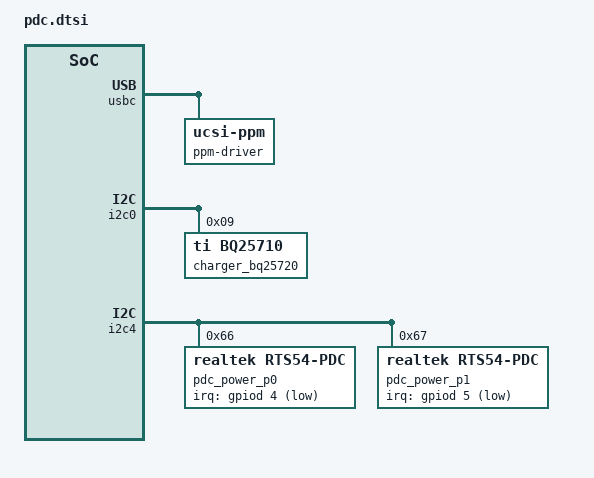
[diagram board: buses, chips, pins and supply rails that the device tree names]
/* Copyright 2025 The ChromiumOS Authors
 * Use of this source code is governed by a BSD-style license that can be
 * found in the LICENSE file.
 */

#include <usbc-policy.dtsi>

/ {
	usbc {
		#address-cells = <1>;
		#size-cells = <0>;

		usbc_port0: port0@0 {
			compatible = "named-usbc-port";
			reg = <0>;
			chg = <&charger_bq25720>;
			pdc = <&pdc_power_p0>;
			policy = <&cros_policy>;
		};

		usbc_port1: port1@1 {
			compatible = "named-usbc-port";
			reg = <1>;
			pdc = <&pdc_power_p1>;
			policy = <&cros_policy>;
		};

		ppm-driver {
			compatible = "ucsi-ppm";
		};
	};
};

&i2c0 {
	charger_bq25720: bq25720@9 {
		compatible = "ti,bq25710";
		status = "okay";
		reg = <0x9>;
	};
};

&i2c4 {
	pdc_power_p0: rts54-pdc@66 {
		compatible = "realtek,rts54-pdc";
		reg = <0x66>;
		irq-gpios = <&gpiod 4 GPIO_ACTIVE_LOW>;
		ccd;
	};
	pdc_power_p1: rts54-pdc@67 {
		compatible = "realtek,rts54-pdc";
		reg = <0x67>;
		irq-gpios = <&gpiod 5 GPIO_ACTIVE_LOW>;
	};
};
